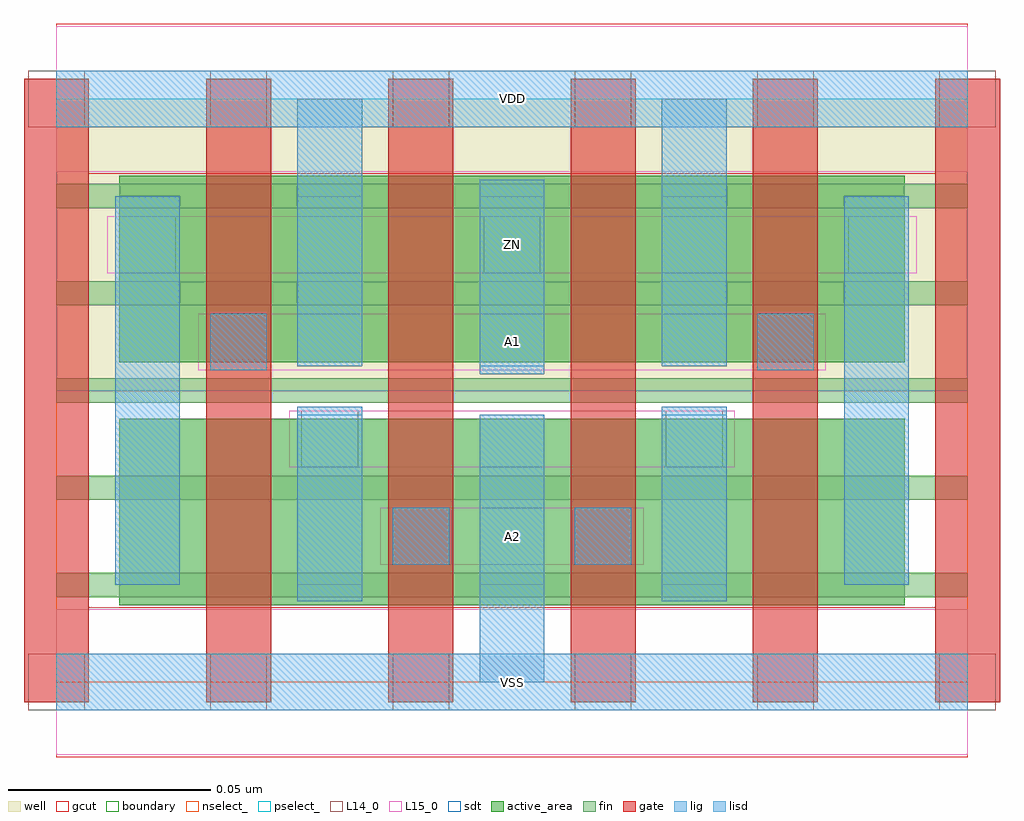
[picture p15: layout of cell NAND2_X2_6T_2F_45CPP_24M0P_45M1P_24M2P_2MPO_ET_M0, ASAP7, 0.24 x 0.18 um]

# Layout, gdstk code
import gdstk
lib = gdstk.Library(unit=1e-6, precision=2.5e-10)
def R(c, l, rs):  # rectangles x0, y0, x1, y1
    for r in rs: c.add(gdstk.rectangle(r[:2], r[2:], *l))
def A(c, l, x, y, w, h, nx, ny, dx, dy):  # array of equal rectangles
    R(c, l, [(x+i*dx, y+j*dy, x+i*dx+w, y+j*dy+h) for i in range(nx) for j in range(ny)])
well = (1, 0)
fin = (2, 0)
gate = (7, 0)
gcut = (10, 0)
active_area = (11, 0)
nselect_ = (12, 0)
pselect_ = (13, 0)
L14_0 = (14, 0)
L15_0 = (15, 0)
lig = (16, 0)
lisd = (17, 0)
sdt = (88, 0)
boundary = (100, 0)

nand2_x2_6t_2f_45cpp_24m = lib.new_cell('NAND2_X2_6T_2F_45CPP_24M0P_45M1P_24M2P_2MPO_ET_M0')
R(nand2_x2_6t_2f_45cpp_24m, well, [(0,0.072,0.225,0.144)])
A(nand2_x2_6t_2f_45cpp_24m, fin, 0, 0.021, 0.225, 0.006, 1, 5, 0, 0.024)
A(nand2_x2_6t_2f_45cpp_24m, gate, -0.008, -0.005, 0.016, 0.154, 6, 1, 0.045, 0)
R(nand2_x2_6t_2f_45cpp_24m, gcut, [(0,-0.0185,0.225,0.0185), (-0.008,-0.005,0.008,0.149), (0.217,-0.005,0.233,0.149), (0,0.1255,0.225,0.1625)])
A(nand2_x2_6t_2f_45cpp_24m, active_area, 0.0155, 0.019, 0.059, 0.046, 4, 2, 0.045, 0.06)
R(nand2_x2_6t_2f_45cpp_24m, nselect_, [(0,0,0.225,0.072)])
R(nand2_x2_6t_2f_45cpp_24m, pselect_, [(0,0.072,0.225,0.144)])
A(nand2_x2_6t_2f_45cpp_24m, L14_0, -0.007, -0.007, 0.014, 0.014, 6, 2, 0.045, 0.144)
A(nand2_x2_6t_2f_45cpp_24m, L14_0, 0.0155, 0.101, 0.014, 0.014, 3, 1, 0.09, 0)
R(nand2_x2_6t_2f_45cpp_24m, L14_0, [(0.083,0.029,0.097,0.043), (0.128,0.029,0.142,0.043), (0.0605,0.053,0.0745,0.067), (0.1505,0.053,0.1645,0.067), (0.038,0.077,0.052,0.091), (0.173,0.077,0.187,0.091)])
R(nand2_x2_6t_2f_45cpp_24m, L15_0, [(0,-0.018,0.225,0.018), (0.08,0.029,0.145,0.043), (0.0575,0.053,0.1675,0.067), (0.035,0.077,0.19,0.091), (0.0125,0.101,0.2125,0.115), (0,0.126,0.225,0.162)])
R(nand2_x2_6t_2f_45cpp_24m, lig, [(0,-0.007,0.225,0.007), (0.083,0.029,0.097,0.043), (0.128,0.029,0.142,0.043), (0.038,0.077,0.052,0.091), (0.173,0.077,0.187,0.091), (0,0.137,0.225,0.151)])
R(nand2_x2_6t_2f_45cpp_24m, lisd, [(0.1045,0,0.1205,0.066), (0.0595,0.02,0.0755,0.068), (0.1495,0.02,0.1655,0.068), (0.0145,0.024,0.0305,0.12), (0.1945,0.024,0.2105,0.12), (0.1045,0.076,0.1205,0.124), (0.0595,0.078,0.0755,0.144), (0.1495,0.078,0.1655,0.144)])
A(nand2_x2_6t_2f_45cpp_24m, sdt, 0.0595, 0.024, 0.016, 0.042, 3, 2, 0.045, 0.054)
R(nand2_x2_6t_2f_45cpp_24m, sdt, [(0.0145,0.024,0.0305,0.12), (0.1945,0.024,0.2105,0.12)])
R(nand2_x2_6t_2f_45cpp_24m, boundary, [(0,0,0.225,0.144)])
nand2_x2_6t_2f_45cpp_24m.add(gdstk.Label('ZN', (0.1125,0.108), layer=15, texttype=251))
nand2_x2_6t_2f_45cpp_24m.add(gdstk.Label('A1', (0.1125,0.084), layer=15, texttype=251))
nand2_x2_6t_2f_45cpp_24m.add(gdstk.Label('A2', (0.1125,0.036), layer=15, texttype=251))
nand2_x2_6t_2f_45cpp_24m.add(gdstk.Label('VDD', (0.1125,0.144), layer=15, texttype=251))
nand2_x2_6t_2f_45cpp_24m.add(gdstk.Label('VSS', (0.1125,0), layer=15, texttype=251))
nand2_x2_6t_2f_45cpp_24m.add(gdstk.Label('VDD', (0.1125,0.144), layer=1, texttype=251))
nand2_x2_6t_2f_45cpp_24m.add(gdstk.Label('VSS', (0.1125,0), layer=3, texttype=251))

lib.write_gds('NAND2_X2_6T_2F_45CPP_24M0P_45M1P_24M2P_2MPO_ET_M0.gds')
